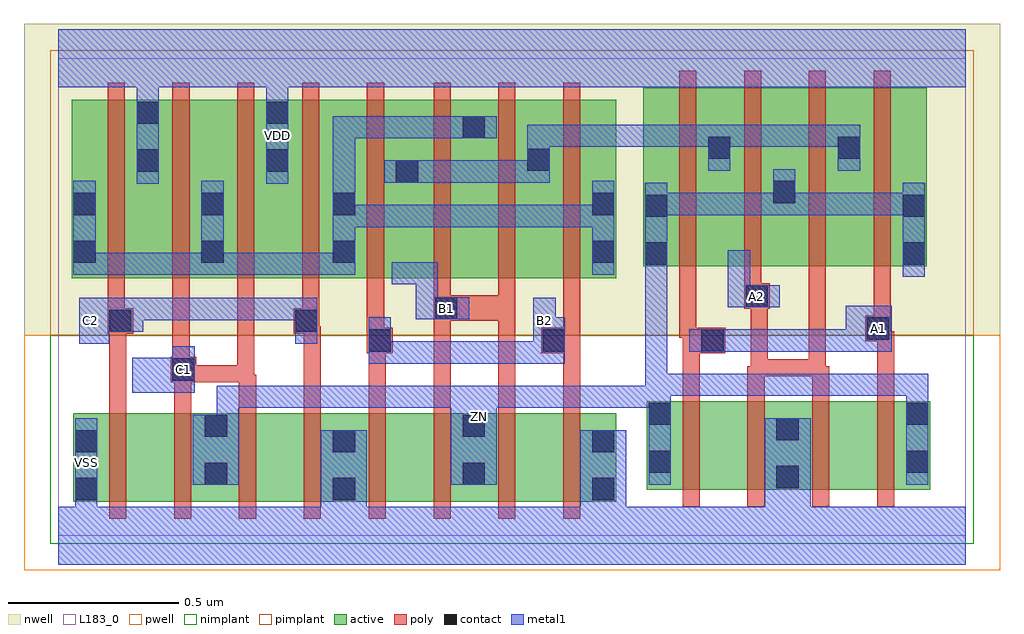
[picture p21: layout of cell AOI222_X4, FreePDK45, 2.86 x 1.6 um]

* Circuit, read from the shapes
.subckt AOI222_X4 A1 A2 B1 B2 C1 C2 VDD VSS ZN
M1 n1 C2 VSS VSUBS nfet w=0.26u l=0.05u
M2 ZN C1 n1 VSUBS nfet w=0.26u l=0.05u
M3 n2 C1 ZN VSUBS nfet w=0.26u l=0.05u
M4 VSS C2 n2 VSUBS nfet w=0.26u l=0.05u
M5 n3 B2 VSS VSUBS nfet w=0.26u l=0.05u
M6 ZN B1 n3 VSUBS nfet w=0.26u l=0.05u
M7 n4 B1 ZN VSUBS nfet w=0.26u l=0.05u
M8 VSS B2 n4 VSUBS nfet w=0.26u l=0.05u
M9 n5 A1 ZN VSUBS nfet w=0.26u l=0.05u
M10 VSS A2 n5 VSUBS nfet w=0.26u l=0.05u
M11 n6 A2 VSS VSUBS nfet w=0.26u l=0.05u
M12 ZN A1 n6 VSUBS nfet w=0.26u l=0.05u
M13 VDD C2 n7 n8 pfet w=0.5225u l=0.05u m=2
M14 n7 C1 VDD n8 pfet w=0.5225u l=0.05u m=2
M15 n9 B2 n7 n8 pfet w=0.5225u l=0.05u m=2
M16 n7 B1 n9 n8 pfet w=0.5225u l=0.05u m=2
M17 n9 A1 ZN n8 pfet w=0.5225u l=0.05u m=2
M18 ZN A2 n9 n8 pfet w=0.5225u l=0.05u m=2
.ends

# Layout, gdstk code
import gdstk
lib = gdstk.Library(unit=1e-6, precision=1e-10)
def R(c, l, rs):  # rectangles x0, y0, x1, y1
    for r in rs: c.add(gdstk.rectangle(r[:2], r[2:], *l))
def P(c, l, *ps):  # polygons
    for p in ps: c.add(gdstk.Polygon(p, *l))
active = (1, 0)
pwell = (2, 0)
nwell = (3, 0)
nimplant = (4, 0)
pimplant = (5, 0)
poly = (9, 0)
contact = (10, 0)
metal1 = (11, 0)
L183_0 = (183, 0)

aoi222_x4 = lib.new_cell('AOI222_X4')
R(aoi222_x4, active, [(0.045,0.1,1.635,0.36), (1.725,0.135,2.555,0.395), (0.04,0.755,1.635,1.2775), (1.715,0.79,2.545,1.3125)])
R(aoi222_x4, pwell, [(-0.1,-0.1,2.76,0.5875)])
R(aoi222_x4, nwell, [(-0.1,0.5875,2.76,1.5)])
R(aoi222_x4, nimplant, [(-0.0225,-0.0225,2.6825,0.5875)])
R(aoi222_x4, pimplant, [(-0.0225,0.5875,2.6825,1.4225)])
P(aoi222_x4, poly, [(0.33,0.45),(0.34,0.45),(0.34,0.05),(0.39,0.05),(0.39,0.45),(0.53,0.45),(0.53,0.05),(0.58,0.05),(0.58,0.4725),(0.575,0.4725),(0.575,1.3275),(0.525,1.3275),(0.525,0.5),(0.405,0.5),(0.405,0.525),(0.385,0.525),(0.385,1.3275),(0.335,1.3275),(0.335,0.525),(0.33,0.525)],
  [(0.69,0.5925),(0.72,0.5925),(0.72,0.05),(0.77,0.05),(0.77,0.615),(0.765,0.615),(0.765,1.3275),(0.715,1.3275),(0.715,0.6675),(0.69,0.6675)],
  [(0.905,0.535),(0.91,0.535),(0.91,0.05),(0.96,0.05),(0.96,0.535),(0.98,0.535),(0.98,0.61),(0.955,0.61),(0.955,1.3275),(0.905,1.3275)],
  [(1.1,0.05),(1.15,0.05),(1.15,0.63),(1.29,0.63),(1.29,0.05),(1.34,0.05),(1.34,1.3275),(1.29,1.3275),(1.29,0.705),(1.15,0.705),(1.15,1.3275),(1.1,1.3275)],
  [(1.415,0.535),(1.48,0.535),(1.48,0.05),(1.53,0.05),(1.53,1.3275),(1.48,1.3275),(1.48,0.61),(1.415,0.61)],
  [(1.82,0.58),(1.83,0.58),(1.83,0.085),(1.88,0.085),(1.88,0.535),(1.955,0.535),(1.955,0.61),(1.87,0.61),(1.87,1.3625),(1.82,1.3625)],
  [(2.01,0.665),(2.03,0.665),(2.03,0.4975),(2.02,0.4975),(2.02,0.085),(2.07,0.085),(2.07,0.4675),(2.21,0.4675),(2.21,0.085),(2.26,0.085),(2.26,0.4975),(2.25,0.4975),(2.25,1.3625),(2.2,1.3625),(2.2,0.5175),(2.08,0.5175),(2.08,0.665),(2.085,0.665),(2.085,0.74),(2.06,0.74),(2.06,1.3625),(2.01,1.3625)],
  [(2.365,0.57),(2.4,0.57),(2.4,0.085),(2.45,0.085),(2.45,0.6),(2.44,0.6),(2.44,1.3625),(2.39,1.3625),(2.39,0.645),(2.365,0.645)],
  [(0.145,0.5925),(0.15,0.5925),(0.15,0.05),(0.2,0.05),(0.2,0.5925),(0.22,0.5925),(0.22,0.6675),(0.195,0.6675),(0.195,1.3275),(0.145,1.3275)])
R(aoi222_x4, contact, [(0.05,0.105,0.115,0.17), (0.805,0.105,0.87,0.17), (1.565,0.105,1.63,0.17), (2.105,0.14,2.17,0.205), (0.43,0.15,0.495,0.215), (1.185,0.15,1.25,0.215), (1.73,0.185,1.795,0.25), (2.485,0.185,2.55,0.25), (0.05,0.245,0.115,0.31), (0.805,0.245,0.87,0.31), (1.565,0.245,1.63,0.31), (2.105,0.28,2.17,0.345), (0.43,0.29,0.495,0.355), (1.185,0.29,1.25,0.355), (1.73,0.325,1.795,0.39), (2.485,0.325,2.55,0.39), (0.335,0.455,0.4,0.52), (0.91,0.54,0.975,0.605), (1.42,0.54,1.485,0.605), (1.885,0.54,1.95,0.605), (2.37,0.575,2.435,0.64), (0.15,0.5975,0.215,0.6625), (0.695,0.5975,0.76,0.6625), (1.105,0.635,1.17,0.7), (2.015,0.67,2.08,0.735), (1.72,0.795,1.785,0.86), (2.475,0.795,2.54,0.86), (0.045,0.8,0.11,0.865), (0.42,0.8,0.485,0.865), (0.805,0.8,0.87,0.865), (1.565,0.8,1.63,0.865), (1.72,0.935,1.785,1), (2.475,0.935,2.54,1), (0.045,0.94,0.11,1.005), (0.42,0.94,0.485,1.005), (0.805,0.94,0.87,1.005), (1.565,0.94,1.63,1.005), (2.095,0.975,2.16,1.04), (0.99,1.035,1.055,1.1), (0.23,1.0675,0.295,1.1325), (0.61,1.0675,0.675,1.1325), (1.375,1.07,1.44,1.135), (1.905,1.105,1.97,1.17), (2.285,1.105,2.35,1.17), (1.185,1.165,1.25,1.23), (0.23,1.2075,0.295,1.2725), (0.61,1.2075,0.675,1.2725)])
P(aoi222_x4, metal1, [(0.2175,0.42),(0.4,0.42),(0.4,0.5225),(0.4,0.555),(0.335,0.555),(0.335,0.5225),(0.2175,0.5225)],
  [(0.0625,0.5625),(0.15,0.5625),(0.15,0.5975),(0.25,0.5975),(0.25,0.6325),(0.695,0.6325),(0.695,0.5625),(0.76,0.5625),(0.76,0.6975),(0.15,0.6975),(0.0625,0.6975)],
  [(0.9775,0.7375),(1.0475,0.7375),(1.0475,0.635),(1.1125,0.635),(1.205,0.635),(1.205,0.7),(1.1125,0.7),(1.1125,0.7375),(1.1125,0.8025),(0.9775,0.8025)],
  [(0.91,0.505),(1.485,0.505),(1.485,0.64),(1.4575,0.64),(1.4575,0.6975),(1.3925,0.6975),(1.3925,0.57),(0.975,0.57),(0.975,0.64),(0.91,0.64)],
  [(0.045,0.765),(0.87,0.765),(0.87,0.905),(1.565,0.905),(1.565,0.765),(1.63,0.765),(1.63,1.04),(1.565,1.04),(1.565,0.97),(0.87,0.97),(0.87,1.165),(1.285,1.165),(1.285,1.23),(0.805,1.23),(0.805,0.83),(0.485,0.83),(0.485,1.04),(0.42,1.04),(0.42,0.83),(0.11,0.83),(0.11,1.04),(0.045,1.04)],
  [(1.9625,0.67),(2.0225,0.67),(2.0275,0.67),(2.115,0.67),(2.115,0.735),(2.0275,0.735),(2.0275,0.8375),(1.9625,0.8375)],
  [(0.955,1.035),(1.09,1.035),(1.375,1.035),(1.44,1.035),(1.44,1.1),(1.44,1.14),(1.905,1.14),(1.905,1.07),(1.97,1.07),(1.97,1.14),(2.285,1.14),(2.285,1.07),(2.35,1.07),(2.35,1.205),(2.285,1.205),(1.97,1.205),(1.905,1.205),(1.375,1.205),(1.375,1.1),(1.09,1.1),(0.955,1.1)],
  [(1.85,0.54),(2.4425,0.54),(2.4425,0.675),(2.3075,0.675),(2.3075,0.605),(1.85,0.605)],
  [(0.395,0.15),(0.53,0.15),(0.53,0.375),(1.15,0.375),(1.15,0.15),(1.285,0.15),(1.285,0.375),(1.73,0.375),(1.73,0.15),(1.795,0.15),(1.795,0.41),(2.485,0.41),(2.485,0.15),(2.55,0.15),(2.55,0.475),(1.785,0.475),(1.785,0.94),(2.095,0.94),(2.16,0.94),(2.475,0.94),(2.475,0.76),(2.54,0.76),(2.54,1.035),(2.475,1.035),(2.475,1.005),(2.16,1.005),(2.16,1.075),(2.095,1.075),(2.095,1.005),(1.785,1.005),(1.785,1.035),(1.72,1.035),(1.72,0.44),(0.465,0.44),(0.465,0.355),(0.395,0.355)],
  [(0,-0.085),(2.66,-0.085),(2.66,0.085),(2.205,0.085),(2.205,0.345),(2.07,0.345),(2.07,0.085),(1.665,0.085),(1.665,0.31),(1.53,0.31),(1.53,0.085),(0.905,0.085),(0.905,0.31),(0.77,0.31),(0.77,0.085),(0.115,0.085),(0.115,0.345),(0.05,0.345),(0.05,0.085),(0,0.085)],
  [(0,1.315),(0.23,1.315),(0.23,1.0325),(0.295,1.0325),(0.295,1.315),(0.61,1.315),(0.61,1.0325),(0.675,1.0325),(0.675,1.315),(2.66,1.315),(2.66,1.485),(0,1.485)])
R(aoi222_x4, L183_0, [(0,0,2.66,1.4)])
aoi222_x4.add(gdstk.Label('A1', (2.4025,0.6075), layer=11, texttype=0))
aoi222_x4.add(gdstk.Label('A2', (2.0475,0.7025), layer=11, texttype=0))
aoi222_x4.add(gdstk.Label('B1', (1.1375,0.6675), layer=11, texttype=0))
aoi222_x4.add(gdstk.Label('B2', (1.425,0.63), layer=11, texttype=0))
aoi222_x4.add(gdstk.Label('C1', (0.3675,0.4875), layer=11, texttype=0))
aoi222_x4.add(gdstk.Label('C2', (0.095,0.63), layer=11, texttype=0))
aoi222_x4.add(gdstk.Label('VDD', (0.6425,1.1737), layer=11, texttype=0))
aoi222_x4.add(gdstk.Label('VSS', (0.0825,0.215), layer=11, texttype=0))
aoi222_x4.add(gdstk.Label('ZN', (1.235,0.35), layer=11, texttype=0))

lib.write_gds('AOI222_X4.gds')
